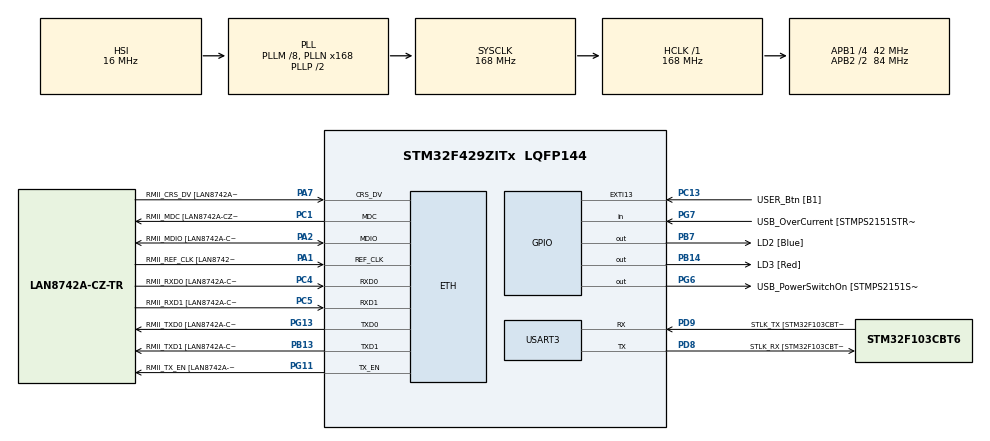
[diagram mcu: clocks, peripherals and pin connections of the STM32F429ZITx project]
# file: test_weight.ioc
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ETH.MediaInterface=HAL_ETH_RMII_MODE
Mcu.Family=STM32F4
Mcu.Name=STM32F429ZITx
Mcu.Package=LQFP144
NVIC.PriorityGroup=NVIC_PRIORITYGROUP_4
PA1.GPIO_Label=RMII_REF_CLK [LAN8742A-CZ-TR_REFCLK0]
PA1.Mode=RMII
PA1.Signal=ETH_REF_CLK
PA10.GPIO_Label=USB_ID
PA10.Signal=USB_OTG_FS_ID
PA11.GPIO_Label=USB_DM
PA11.Signal=USB_OTG_FS_DM
PA12.GPIO_Label=USB_DP
PA12.Signal=USB_OTG_FS_DP
PA13.GPIO_Label=TMS
PA13.Mode=Serial_Wire
PA13.Signal=SYS_JTMS-SWDIO
PA14.GPIO_Label=TCK
PA14.Mode=Serial_Wire
PA14.Signal=SYS_JTCK-SWCLK
PA2.GPIO_Label=RMII_MDIO [LAN8742A-CZ-TR_MDIO]
PA2.Mode=RMII
PA2.Signal=ETH_MDIO
PA7.GPIO_Label=RMII_CRS_DV [LAN8742A-CZ-TR_CRS_DV]
PA7.Mode=RMII
PA7.Signal=ETH_CRS_DV
PA8.GPIO_Label=USB_SOF [TP1]
PA8.Signal=USB_OTG_FS_SOF
PA9.GPIO_Label=USB_VBUS
PA9.Signal=USB_OTG_FS_VBUS
PB13.GPIO_Label=RMII_TXD1 [LAN8742A-CZ-TR_TXD1]
PB13.Mode=RMII
PB13.Signal=ETH_TXD1
PB14.GPIO_Label=LD3 [Red]
PB14.Signal=GPIO_Output
PB7.GPIO_Label=LD2 [Blue]
PB7.Signal=GPIO_Output
PC1.GPIO_Label=RMII_MDC [LAN8742A-CZ-TR_MDC]
PC1.Mode=RMII
PC1.Signal=ETH_MDC
PC13.GPIO_Label=USER_Btn [B1]
PC13.Signal=GPXTI13
PC14/OSC32_IN.Mode=LSE-External-Oscillator
PC14/OSC32_IN.Signal=RCC_OSC32_IN
PC15/OSC32_OUT.Mode=LSE-External-Oscillator
PC15/OSC32_OUT.Signal=RCC_OSC32_OUT
PC4.GPIO_Label=RMII_RXD0 [LAN8742A-CZ-TR_RXD0]
PC4.Mode=RMII
PC4.Signal=ETH_RXD0
PC5.GPIO_Label=RMII_RXD1 [LAN8742A-CZ-TR_RXD1]
PC5.Mode=RMII
PC5.Signal=ETH_RXD1
PD8.GPIO_Label=STLK_RX [STM32F103CBT6_PA3]
PD8.Mode=Asynchronous
PD8.Signal=USART3_TX
PD9.GPIO_Label=STLK_TX [STM32F103CBT6_PA2]
PD9.Mode=Asynchronous
PD9.Signal=USART3_RX
PG11.GPIO_Label=RMII_TX_EN [LAN8742A-CZ-TR_TXEN]
PG11.Mode=RMII
PG11.Signal=ETH_TX_EN
PG13.GPIO_Label=RMII_TXD0 [LAN8742A-CZ-TR_TXD0]
PG13.Mode=RMII
PG13.Signal=ETH_TXD0
PG6.GPIO_Label=USB_PowerSwitchOn [STMPS2151STR_EN]
PG6.Signal=GPIO_Output
PG7.GPIO_Label=USB_OverCurrent [STMPS2151STR_FAULT]
PG7.Signal=GPIO_Input
PH0/OSC_IN.GPIO_Label=MCO [STM32F103CBT6_PA8]
PH0/OSC_IN.Signal=RCC_OSC_IN
ProjectManager.HeapSize=0x200
ProjectManager.StackSize=0x400
ProjectManager.TargetToolchain=STM32CubeIDE
RCC.48MHZClocksFreq_Value=48000000
RCC.AHBFreq_Value=168000000
RCC.APB1CLKDivider=RCC_HCLK_DIV4
RCC.APB1Freq_Value=42000000
RCC.APB1TimFreq_Value=84000000
RCC.APB2CLKDivider=RCC_HCLK_DIV2
RCC.APB2Freq_Value=84000000
RCC.APB2TimFreq_Value=168000000
RCC.CortexFreq_Value=168000000
RCC.HCLKFreq_Value=168000000
RCC.HSE_VALUE=8000000
RCC.HSI_VALUE=16000000
RCC.PLLM=8
RCC.PLLMUL=RCC_PLL_MUL9
RCC.PLLN=168
RCC.PLLQ=7
RCC.PRESCALERUSB=RCC_USBCLKSOURCE_PLL_DIV1_5
RCC.SYSCLKFreq_VALUE=168000000
RCC.SYSCLKSource=RCC_SYSCLKSOURCE_PLLCLK
RCC.SYSCLKSourceVirtual=RCC_SYSCLKSOURCE_PLLCLK
RCC.USBFreq_Value=48000000
RCC.VCOOutputFreq_Value=336000000
USART3.VirtualMode=VM_ASYNC
board=NUCLEO-F429ZI

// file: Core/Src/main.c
/* USER CODE BEGIN Header */
/**
  ******************************************************************************
  * @file           : main.c
  * @brief          : Main program body
  ******************************************************************************
  * @attention
  *
  * Copyright (c) 2026 STMicroelectronics.
  * All rights reserved.
  *
  * This software is licensed under terms that can be found in the LICENSE file
  * in the root directory of this software component.
  * If no LICENSE file comes with this so	ftware, it is provided AS-IS.
  *
  ******************************************************************************
  */
/* USER CODE END Header */
#include "main.h"
#include "string.h"

/* USER CODE BEGIN Includes */
#include <stdio.h>
#include <stdlib.h>
#include "weight.h"
#include "can.h"
/* USER CODE END Includes */

ETH_TxPacketConfig TxConfig;
ETH_DMADescTypeDef  DMARxDscrTab[ETH_RX_DESC_CNT]; /* Ethernet Rx DMA Descriptors */
ETH_DMADescTypeDef  DMATxDscrTab[ETH_TX_DESC_CNT]; /* Ethernet Tx DMA Descriptors */

ETH_HandleTypeDef heth;

UART_HandleTypeDef huart3;

void SystemClock_Config(void);
static void MX_GPIO_Init(void);
static void MX_USART3_UART_Init(void);
static void MX_ETH_Init(void);

int main(void)
{

  /* MCU Configuration--------------------------------------------------------*/

  /* Reset of all peripherals, Initializes the Flash interface and the Systick. */
  HAL_Init();

  /* Configure the system clock */
  SystemClock_Config();

  /* Initialize all configured peripherals */
  MX_GPIO_Init();
  MX_USART3_UART_Init();
  MX_ETH_Init();
  /* USER CODE BEGIN 2 */
  CAN_Init();
  DWT_Init();
  Weight_Init();
  char buf[80];
  int len;
  float calibration_factor = 490.0f;

  int32_t offset = Data_ReadAverage(25);
//  len = snprintf(buf, sizeof(buf),
//                 "HX711 calibration\r\nZero factor: %ld\r\n", (long)offset);
//  HAL_UART_Transmit(&huart3, (uint8_t*)buf, len, HAL_MAX_DELAY);

  /* USER CODE END 2 */

  /* Infinite loop */
  while (1)
  {

    /* USER CODE BEGIN 3 */

	  HAL_GPIO_TogglePin(GPIOB, LD2_Pin);

	  if (calibration_factor == 0.0f) calibration_factor = 1.0f;   // divide guard

	  int32_t raw = Data_ReadAverage(5);
	  int32_t CL_mg  = (int32_t)((raw - offset) / calibration_factor * 1000.0f);

	  int32_t g_int = CL_mg / 1000;   // 소수점 버림 (정수 나눗셈)

	  // int16_t 범위 클램프 (오버플로우 방지)
	  if (g_int > INT16_MAX) g_int = INT16_MAX;
	  else if (g_int < INT16_MIN) g_int = INT16_MIN;

	  int16_t can_g = (int16_t)g_int;
	  if(can_g < 0) can_g = 0;

	  len = snprintf(buf, sizeof(buf),
	                 "Reading: %ld.%03ld   cal: %ld   can_g: %d\r\n",
	                 (long)(CL_mg  / 1000), (long)labs(CL_mg  % 1000),
	                 (long)calibration_factor, can_g);
	  HAL_UART_Transmit(&huart3, (uint8_t*)buf, len, HAL_MAX_DELAY);

//	  len = snprintf(buf, sizeof(buf), "ESR: 0x%08lX  TEC: %ld  REC: %ld\r\n",
//	                    CAN1->ESR, (CAN1->ESR >> 16) & 0xFF, (CAN1->ESR >> 24) & 0xFF);
//	  HAL_UART_Transmit(&huart3, (uint8_t*)buf, len, HAL_MAX_DELAY);
//	  len = snprintf(buf, sizeof(buf), "BTR: 0x%08lX\r\n", CAN1->BTR);
//	  HAL_UART_Transmit(&huart3, (uint8_t*)buf, len, HAL_MAX_DELAY);

//	  if (USART3->SR & USART_SR_RXNE) {                 // non-blocking key input
//	      char c = (char)(USART3->DR & 0xFF);
//	      if (c == '+' || c == 'a') calibration_factor += 10.0f;
//	      else if (c == '-' || c == 'z') calibration_factor -= 10.0f;
//	  }

	  CAN_ModuleA_Process(can_g);

	  HAL_Delay(200);

  }
  /* USER CODE END 3 */
}

void SystemClock_Config(void)
{
  RCC_OscInitTypeDef RCC_OscInitStruct = {0};
  RCC_ClkInitTypeDef RCC_ClkInitStruct = {0};

  /** Configure the main internal regulator output voltage
  */
  __HAL_RCC_PWR_CLK_ENABLE();
  __HAL_PWR_VOLTAGESCALING_CONFIG(PWR_REGULATOR_VOLTAGE_SCALE1);

  /** Initializes the RCC Oscillators according to the specified parameters
  * in the RCC_OscInitTypeDef structure.
  */
  RCC_OscInitStruct.OscillatorType = RCC_OSCILLATORTYPE_HSI;
  RCC_OscInitStruct.HSIState = RCC_HSI_ON;
  RCC_OscInitStruct.HSICalibrationValue = RCC_HSICALIBRATION_DEFAULT;
  RCC_OscInitStruct.PLL.PLLState = RCC_PLL_ON;
  RCC_OscInitStruct.PLL.PLLSource = RCC_PLLSOURCE_HSI;
  RCC_OscInitStruct.PLL.PLLM = 8;
  RCC_OscInitStruct.PLL.PLLN = 168;
  RCC_OscInitStruct.PLL.PLLP = RCC_PLLP_DIV2;
  RCC_OscInitStruct.PLL.PLLQ = 7;
  if (HAL_RCC_OscConfig(&RCC_OscInitStruct) != HAL_OK)
  {
    Error_Handler();
  }

  /** Initializes the CPU, AHB and APB buses clocks
  */
  RCC_ClkInitStruct.ClockType = RCC_CLOCKTYPE_HCLK|RCC_CLOCKTYPE_SYSCLK
                              |RCC_CLOCKTYPE_PCLK1|RCC_CLOCKTYPE_PCLK2;
  RCC_ClkInitStruct.SYSCLKSource = RCC_SYSCLKSOURCE_PLLCLK;
  RCC_ClkInitStruct.AHBCLKDivider = RCC_SYSCLK_DIV1;
  RCC_ClkInitStruct.APB1CLKDivider = RCC_HCLK_DIV4;
  RCC_ClkInitStruct.APB2CLKDivider = RCC_HCLK_DIV2;

  if (HAL_RCC_ClockConfig(&RCC_ClkInitStruct, FLASH_LATENCY_5) != HAL_OK)
  {
    Error_Handler();
  }
}

static void MX_ETH_Init(void)
{

   static uint8_t MACAddr[6];

  heth.Instance = ETH;
  MACAddr[0] = 0x00;
  MACAddr[1] = 0x80;
  MACAddr[2] = 0xE1;
  MACAddr[3] = 0x00;
  MACAddr[4] = 0x00;
  MACAddr[5] = 0x00;
  heth.Init.MACAddr = &MACAddr[0];
  heth.Init.MediaInterface = HAL_ETH_RMII_MODE;
  heth.Init.TxDesc = DMATxDscrTab;
  heth.Init.RxDesc = DMARxDscrTab;
  heth.Init.RxBuffLen = 1524;

  if (HAL_ETH_Init(&heth) != HAL_OK)
  {
    Error_Handler();
  }

  memset(&TxConfig, 0 , sizeof(ETH_TxPacketConfig));
  TxConfig.Attributes = ETH_TX_PACKETS_FEATURES_CSUM | ETH_TX_PACKETS_FEATURES_CRCPAD;
  TxConfig.ChecksumCtrl = ETH_CHECKSUM_IPHDR_PAYLOAD_INSERT_PHDR_CALC;
  TxConfig.CRCPadCtrl = ETH_CRC_PAD_INSERT;

}

static void MX_USART3_UART_Init(void)
{

  huart3.Instance = USART3;
  huart3.Init.BaudRate = 115200;
  huart3.Init.WordLength = UART_WORDLENGTH_8B;
  huart3.Init.StopBits = UART_STOPBITS_1;
  huart3.Init.Parity = UART_PARITY_NONE;
  huart3.Init.Mode = UART_MODE_TX_RX;
  huart3.Init.HwFlowCtl = UART_HWCONTROL_NONE;
  huart3.Init.OverSampling = UART_OVERSAMPLING_16;
  if (HAL_UART_Init(&huart3) != HAL_OK)
  {
    Error_Handler();
  }

}

static void MX_GPIO_Init(void)
{
  GPIO_InitTypeDef GPIO_InitStruct = {0};

  /* GPIO Ports Clock Enable */
  __HAL_RCC_GPIOC_CLK_ENABLE();
  __HAL_RCC_GPIOH_CLK_ENABLE();
  __HAL_RCC_GPIOA_CLK_ENABLE();
  __HAL_RCC_GPIOB_CLK_ENABLE();
  __HAL_RCC_GPIOD_CLK_ENABLE();
  __HAL_RCC_GPIOG_CLK_ENABLE();

  /*Configure GPIO pin Output Level */
  HAL_GPIO_WritePin(GPIOB, LD3_Pin|LD2_Pin, GPIO_PIN_RESET);

  /*Configure GPIO pin Output Level */
  HAL_GPIO_WritePin(USB_PowerSwitchOn_GPIO_Port, USB_PowerSwitchOn_Pin, GPIO_PIN_RESET);

  /*Configure GPIO pin : USER_Btn_Pin */
  GPIO_InitStruct.Pin = USER_Btn_Pin;
  GPIO_InitStruct.Mode = GPIO_MODE_IT_RISING;
  GPIO_InitStruct.Pull = GPIO_NOPULL;
  HAL_GPIO_Init(USER_Btn_GPIO_Port, &GPIO_InitStruct);

  /*Configure GPIO pins : LD3_Pin LD2_Pin */
  GPIO_InitStruct.Pin = LD3_Pin|LD2_Pin;
  GPIO_InitStruct.Mode = GPIO_MODE_OUTPUT_PP;
  GPIO_InitStruct.Pull = GPIO_NOPULL;
  GPIO_InitStruct.Speed = GPIO_SPEED_FREQ_LOW;
  HAL_GPIO_Init(GPIOB, &GPIO_InitStruct);

  /*Configure GPIO pin : USB_PowerSwitchOn_Pin */
  GPIO_InitStruct.Pin = USB_PowerSwitchOn_Pin;
  GPIO_InitStruct.Mode = GPIO_MODE_OUTPUT_PP;
  GPIO_InitStruct.Pull = GPIO_NOPULL;
  GPIO_InitStruct.Speed = GPIO_SPEED_FREQ_LOW;
  HAL_GPIO_Init(USB_PowerSwitchOn_GPIO_Port, &GPIO_InitStruct);

  /*Configure GPIO pin : USB_OverCurrent_Pin */
  GPIO_InitStruct.Pin = USB_OverCurrent_Pin;
  GPIO_InitStruct.Mode = GPIO_MODE_INPUT;
  GPIO_InitStruct.Pull = GPIO_NOPULL;
  HAL_GPIO_Init(USB_OverCurrent_GPIO_Port, &GPIO_InitStruct);

  /*Configure GPIO pins : USB_SOF_Pin USB_ID_Pin USB_DM_Pin USB_DP_Pin */
  GPIO_InitStruct.Pin = USB_SOF_Pin|USB_ID_Pin|USB_DM_Pin|USB_DP_Pin;
  GPIO_InitStruct.Mode = GPIO_MODE_AF_PP;
  GPIO_InitStruct.Pull = GPIO_NOPULL;
  GPIO_InitStruct.Speed = GPIO_SPEED_FREQ_VERY_HIGH;
  GPIO_InitStruct.Alternate = GPIO_AF10_OTG_FS;
  HAL_GPIO_Init(GPIOA, &GPIO_InitStruct);

  /*Configure GPIO pin : USB_VBUS_Pin */
  GPIO_InitStruct.Pin = USB_VBUS_Pin;
  GPIO_InitStruct.Mode = GPIO_MODE_INPUT;
  GPIO_InitStruct.Pull = GPIO_NOPULL;
  HAL_GPIO_Init(USB_VBUS_GPIO_Port, &GPIO_InitStruct);

}

void Error_Handler(void)
{
  __disable_irq();
  while (1)
  {
  }
}
